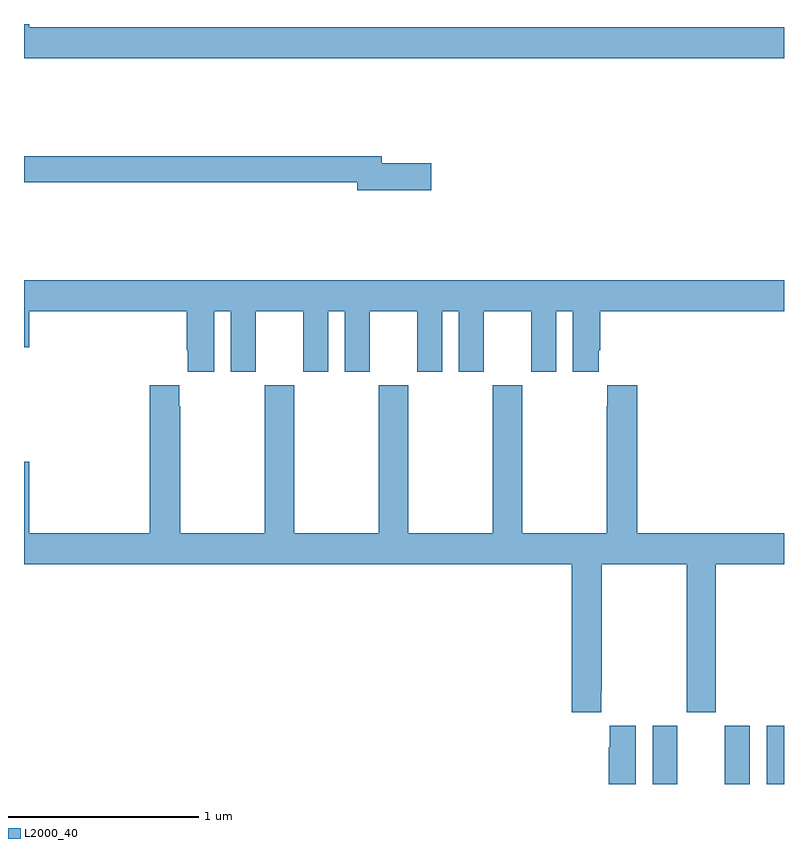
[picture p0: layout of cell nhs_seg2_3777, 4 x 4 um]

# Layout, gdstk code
import gdstk
lib = gdstk.Library(unit=1e-6, precision=1e-09)
def R(c, l, rs):  # rectangles x0, y0, x1, y1
    for r in rs: c.add(gdstk.rectangle(r[:2], r[2:], *l))
def P(c, l, *ps):  # polygons
    for p in ps: c.add(gdstk.Polygon(p, *l))
L2000_40 = (2000, 40)

nhs_seg2_3777 = lib.new_cell('nhs_seg2_3777')
R(nhs_seg2_3777, L2000_40, [(312.308,659.8,312.439,660.106), (312.689,659.8,312.82,660.106), (312.908,659.8,313,660.106)])
P(nhs_seg2_3777, L2000_40, [(313,663.784),(309.028,663.784),(309.028,663.8),(309,663.8),(309,663.62),(313,663.62)],
  [(311.143,663.068),(310.882,663.068),(310.882,663.104),(309,663.104),(309,662.968),(310.754,662.968),(310.754,662.926),(311.143,662.926)],
  [(310,662.288),(310.088,662.288),(310.088,661.971),(310.219,661.971),(310.219,662.288),(310.469,662.288),(310.469,661.971),(310.6,661.971),(310.6,662.288),(310.688,662.288),(310.688,661.971),(310.819,661.971),(310.819,662.288),(311.069,662.288),(311.069,661.971),(311.2,661.971),(311.2,662.288),(311.288,662.288),(311.288,661.971),(311.419,661.971),(311.419,662.288),(311.669,662.288),(311.669,661.971),(311.8,661.971),(311.8,662.288),(311.888,662.288),(311.888,661.971),(312.025,661.971),(312.025,662.083),(312.032,662.083),(312.032,662.288),(313,662.288),(313,662.452),(309,662.452),(309,662.1),(309.028,662.1),(309.028,662.288),(309.857,662.288),(309.857,662.083),(309.863,662.083),(309.863,661.971),(310,661.971)],
  [(311.882,660.177),(312.037,660.177),(312.037,660.289),(312.042,660.289),(312.042,660.956),(312.487,660.956),(312.487,660.177),(312.642,660.177),(312.642,660.956),(313,660.956),(313,661.12),(312.227,661.12),(312.227,661.9),(312.071,661.9),(312.071,661.787),(312.067,661.787),(312.067,661.12),(311.622,661.12),(311.622,661.9),(311.467,661.9),(311.467,661.12),(311.022,661.12),(311.022,661.9),(310.867,661.9),(310.867,661.12),(310.422,661.12),(310.422,661.9),(310.267,661.9),(310.267,661.12),(309.822,661.12),(309.822,661.787),(309.817,661.787),(309.817,661.9),(309.662,661.9),(309.662,661.12),(309.028,661.12),(309.028,661.495),(309,661.495),(309,660.956),(311.882,660.956)],
  [(312.22,660.106),(312.083,660.106),(312.083,659.993),(312.077,659.993),(312.077,659.8),(312.22,659.8)])

lib.write_gds('nhs_seg2_3777.gds')
